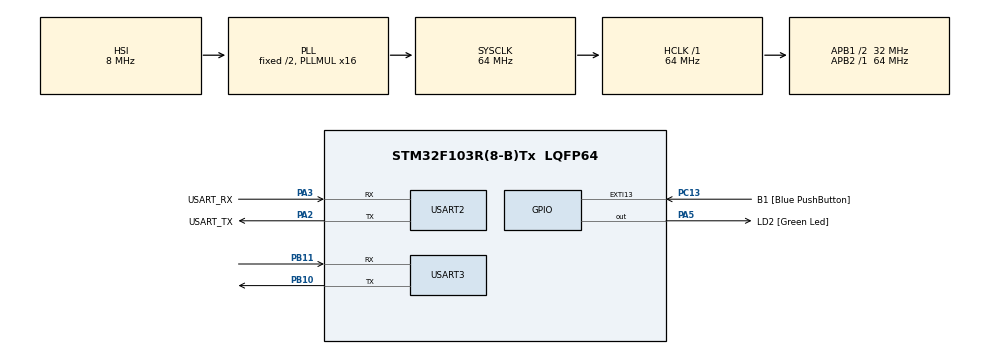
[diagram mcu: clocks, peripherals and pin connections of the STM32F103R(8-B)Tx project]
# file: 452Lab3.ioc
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Mcu.Family=STM32F1
Mcu.Name=STM32F103R(8-B)Tx
Mcu.Package=LQFP64
NVIC.EXTI15_10_IRQn=true\:0\:0\:false\:false\:true\:true\:true\:true
NVIC.PriorityGroup=NVIC_PRIORITYGROUP_4
NVIC.USART3_IRQn=true\:0\:0\:false\:false\:true\:true\:true\:true
PA13.GPIO_Label=TMS
PA13.Mode=Serial_Wire
PA13.Signal=SYS_JTMS-SWDIO
PA14.GPIO_Label=TCK
PA14.Mode=Serial_Wire
PA14.Signal=SYS_JTCK-SWCLK
PA2.GPIO_Label=USART_TX
PA2.GPIO_Mode=GPIO_MODE_AF_PP
PA2.GPIO_PuPd=GPIO_NOPULL
PA2.GPIO_Speed=GPIO_SPEED_FREQ_LOW
PA2.Mode=Asynchronous
PA2.Signal=USART2_TX
PA3.GPIO_Label=USART_RX
PA3.GPIO_Mode=GPIO_MODE_AF_PP
PA3.GPIO_PuPd=GPIO_NOPULL
PA3.GPIO_Speed=GPIO_SPEED_FREQ_LOW
PA3.Mode=Asynchronous
PA3.Signal=USART2_RX
PA5.GPIO_Label=LD2 [Green Led]
PA5.GPIO_ModeDefaultOutputPP=GPIO_MODE_OUTPUT_PP
PA5.GPIO_PuPd=GPIO_NOPULL
PA5.GPIO_Speed=GPIO_SPEED_FREQ_LOW
PA5.Signal=GPIO_Output
PB10.Mode=Asynchronous
PB10.Signal=USART3_TX
PB11.Mode=Asynchronous
PB11.Signal=USART3_RX
PB3.GPIO_Label=SWO
PB3.Signal=SYS_JTDO-TRACESWO
PC13-TAMPER-RTC.GPIO_Label=B1 [Blue PushButton]
PC13-TAMPER-RTC.GPIO_PuPd=GPIO_NOPULL
PC13-TAMPER-RTC.Signal=GPXTI13
PC14-OSC32_IN.Mode=LSE-External-Oscillator
PC14-OSC32_IN.Signal=RCC_OSC32_IN
PC15-OSC32_OUT.Mode=LSE-External-Oscillator
PC15-OSC32_OUT.Signal=RCC_OSC32_OUT
PD0-OSC_IN.Mode=HSE-External-Clock-Source
PD0-OSC_IN.Signal=RCC_OSC_IN
PD1-OSC_OUT.Mode=HSE-External-Clock-Source
PD1-OSC_OUT.Signal=RCC_OSC_OUT
ProjectManager.HeapSize=0x200
ProjectManager.StackSize=0x400
ProjectManager.TargetToolchain=STM32CubeIDE
RCC.AHBFreq_Value=64000000
RCC.APB1CLKDivider=RCC_HCLK_DIV2
RCC.APB1Freq_Value=32000000
RCC.APB1TimFreq_Value=64000000
RCC.APB2Freq_Value=64000000
RCC.APB2TimFreq_Value=64000000
RCC.HCLKFreq_Value=64000000
RCC.PLLMUL=RCC_PLL_MUL16
RCC.RTCClockSelection=RCC_RTCCLKSOURCE_LSE
RCC.SYSCLKFreq_VALUE=64000000
RCC.SYSCLKSource=RCC_SYSCLKSOURCE_PLLCLK
RCC.USBFreq_Value=64000000
USART2.VirtualMode=VM_ASYNC
USART3.VirtualMode=VM_ASYNC
VP_TIM4_VS_ClockSourceINT.Mode=Internal
board=NUCLEO-F103RB

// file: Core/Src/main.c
/* USER CODE BEGIN Header */
/**
  ******************************************************************************
  * @file           : main.c
  * @brief          : Main program body
  ******************************************************************************
  * @attention
  *
  * Copyright (c) 2022 STMicroelectronics.
  * All rights reserved.
  *
  * This software is licensed under terms that can be found in the LICENSE file
  * in the root directory of this software component.
  * If no LICENSE file comes with this software, it is provided AS-IS.
  *
  ******************************************************************************
  */
/* USER CODE END Header */
#include "main.h"

/* USER CODE BEGIN Includes */
#include <stdbool.h>
#include <stdio.h>
#include "string.h"
#include "timer.h"
#include "test.h"

/* USER CODE END Includes */

/* USER CODE BEGIN PM */
uint8_t cliBufferTX[50];
uint8_t cliBufferRX[50];
uint8_t inputTXBuffer[50];
int x;
/* USER CODE END PM */

 TIM_HandleTypeDef htim4;

UART_HandleTypeDef huart2;
UART_HandleTypeDef huart3;

void SystemClock_Config(void);
static void MX_GPIO_Init(void);
static void MX_USART2_UART_Init(void);
static void MX_USART3_UART_Init(void);
static void MX_TIM4_Init(void);
/* USER CODE BEGIN PFP */
void resetBuff(void);

/* USER CODE END PFP */

/* USER CODE BEGIN 0 */
/*
 * Purpose: resets the buffer for RX and TX
 */
void resetBuff()//resets tx and rx buffer
{
  for (int i = 0; i < 50; ++i) {
	  cliBufferTX[i] = 0;
	  cliBufferRX[i] = 0;
  }
}

void resetInput()//resets input buffer
{
  for (int i = 0; i < 50; ++i) {
	  inputTXBuffer[i] = 0;
  }
}

/* USER CODE END 0 */

int main(void)
{

  /* MCU Configuration--------------------------------------------------------*/

  /* Reset of all peripherals, Initializes the Flash interface and the Systick. */
  HAL_Init();

  /* Configure the system clock */
  SystemClock_Config();

  /* Initialize all configured peripherals */
  MX_GPIO_Init();
  MX_USART2_UART_Init();
  MX_USART3_UART_Init();
  MX_TIM4_Init();
  /* USER CODE BEGIN 2 */

  HAL_UART_Transmit(&huart2, "\x1b[0J", 5, 1000); //clearing screen

  strcpy((char *) inputTXBuffer, " ENSE 452 Lab 4: Timing Tests\r\n\r\n");
  HAL_UART_Transmit(&huart2, inputTXBuffer, strlen((char *) inputTXBuffer), 1000);

  uint8_t commands = 0;
  int x = 0;

  //making scrollable cmd window
  HAL_UART_Transmit(&huart2, "\x1b[8;r", 5, 1000);
  HAL_UART_Transmit(&huart2, "\x1b[8;0H", 6, 1000);
  HAL_UART_Transmit(&huart2, "\x1b[1K", 4, 1000);

  HAL_UART_Receive(&huart2, cliBufferRX, 1, 300);

  /* USER CODE END 2 */

  /* Infinite loop */
  /* USER CODE BEGIN WHILE */
  resetInput();
  resetBuff();

  uint8_t input[20];

  while (1)
  {
    /* USER CODE END WHILE */
	  //adding and updating info at top
	  	  HAL_UART_Transmit(&huart2, "\x1b[s", 3, 1000);
	  	  HAL_UART_Transmit(&huart2, "\x1b[3;0f", 7, 1000);
	  	  resetInput();
	  	  strcpy((char *) inputTXBuffer, "Number of commands: ");
	  	  HAL_UART_Transmit(&huart2, inputTXBuffer, strlen((char *) inputTXBuffer), 1000);
	  	  sprintf(input, "%d", commands);
	  	  HAL_UART_Transmit(&huart2, input, strlen((char *) input), 1000);
	  	  HAL_UART_Transmit(&huart2, "\x1b[u", 3, 1000);
	  	  HAL_Delay(1000);
	  	  commands += 1;

	  	  //tasks from Lab 2, takes user inputs and completes the commands

	  	  x = 0;

	  		  strcpy((char *)cliBufferTX, "\nEnter a command for the LED:\r\n");
	  		  HAL_UART_Transmit(&huart2, cliBufferTX, strlen((char *)cliBufferTX), 1000);

	  		  while(cliBufferTX[0] != '\r')
	  		  {
	  			  if(HAL_UART_Receive(&huart2, cliBufferRX, 1, 300) == HAL_OK)
	  			  {
	  				  if(cliBufferRX[0] == '\b')
	  				  {
	  					  cliBufferTX[0] = cliBufferRX[0];
	  					  cliBufferTX[1] = ' ';
	  					  cliBufferTX[2] = '\b';
	  					  HAL_UART_Transmit(&huart2, cliBufferTX, 3, 1000);
	  					  x--;
	  				  }
	  				  else
	  				  {
	  					  cliBufferTX[0] = cliBufferRX[0];
	  					  input[x] = cliBufferRX[0];
	  					  HAL_UART_Transmit(&huart2, cliBufferTX, 1, 1000);
	  					  x++;
	  				  }
	  			  }
	  		  }

	  		  if(input[0] == 'h' && input[1] == 'e' && input[2] == 'l' && input[3] == 'p' && input[4] == '\r')
	  		  {
	  			  strcpy((char *)cliBufferTX, "\non -> turns the green LED on\r\n");
	  			  HAL_UART_Transmit(&huart2, cliBufferTX, strlen((char *)cliBufferTX), 1000);
	  			  strcpy((char *)cliBufferTX, "\noff -> turns the green LED off\r\n");
	  			  HAL_UART_Transmit(&huart2, cliBufferTX, strlen((char *)cliBufferTX), 1000);
	  			  strcpy((char *)cliBufferTX, "\nquery -> returns the state of the green LED\r\n");
	  			  HAL_UART_Transmit(&huart2, cliBufferTX, strlen((char *)cliBufferTX), 1000);
	  			  strcpy((char *)cliBufferTX, "\ntest -> shows the Lab 4 time tests\r\n");
	  			  HAL_UART_Transmit(&huart2, cliBufferTX, strlen((char *)cliBufferTX), 1000);

	  		  }
	  		  else if(input[0] == 'o' && input[1] == 'n' && input[2] == '\r')
	  		  {
	  			  if(HAL_GPIO_ReadPin(GPIOA, GPIO_PIN_5) == 1)
	  			  {
	  				  strcpy((char *)cliBufferTX, "\nThe LED is already on!\r\n");
	  			  }
	  			  else
	  			  {
	  				  strcpy((char *)cliBufferTX, "\nDone!\r\n");
	  			  }
	  			  HAL_UART_Transmit(&huart2, cliBufferTX, strlen((char *)cliBufferTX), 1000);
	  			  HAL_GPIO_WritePin(GPIOA, GPIO_PIN_5, GPIO_PIN_SET);

	  		  }
	  		  else if(input[0] == 'o' && input[1] == 'f' && input[2] == 'f' && input[3] == '\r')
	  		  {
	  			  if(HAL_GPIO_ReadPin(GPIOA, GPIO_PIN_5) == 1)
	  			  {
	  				  strcpy((char *)cliBufferTX, "\nDone!\r\n");
	  			  }
	  			  else
	  			  {
	  				  strcpy((char *)cliBufferTX, "\nThe LED is already off!\r\n");
	  			  }
	  			  HAL_UART_Transmit(&huart2, cliBufferTX, strlen((char *)cliBufferTX), 1000);
	  			  HAL_GPIO_WritePin(GPIOA, GPIO_PIN_5, GPIO_PIN_RESET);
	  		  }
	  		  else if(input[0] == 'q' && input[1] == 'u' && input[2] == 'e' && input[3] == 'r' && input[4] == 'y' && input[5] == '\r')
	  		  {
	  			  if(HAL_GPIO_ReadPin(GPIOA, GPIO_PIN_5) == 1)
	  			  {
	  				  strcpy((char *)cliBufferTX, "\nThe LED is on!\r\n");
	  			  }
	  			  else
	  			  {
	  				  strcpy((char *)cliBufferTX, "\nThe LED is off!\r\n");
	  			  }
	  			  HAL_UART_Transmit(&huart2, cliBufferTX, strlen((char *)cliBufferTX), 1000);
	  		  }
	  		  else if(input[0] == 't' && input[1] == 'e' && input[2] == 's' && input[3] == 't' && input[4] == '\r')
	  		  {

	  			  strcpy((char *)cliBufferTX, "\nTesting Average Operation Times:\r\n");
	  			  HAL_UART_Transmit(&huart2, cliBufferTX, strlen((char *)cliBufferTX), 1000);
	  			  runTests();

	  		  }
	  		  else if(input[0] == '\r')
	  		  {
	  			  continue;
	  		  }
	  		  else
	  		  {
	  			  strcpy((char *)cliBufferTX, "\nError. Try again.\r\n");
	  			  HAL_UART_Transmit(&huart2, cliBufferTX, strlen((char *)cliBufferTX), 1000);
	  		  }

  }
}

void SystemClock_Config(void)
{
  RCC_OscInitTypeDef RCC_OscInitStruct = {0};
  RCC_ClkInitTypeDef RCC_ClkInitStruct = {0};

  /** Initializes the RCC Oscillators according to the specified parameters
  * in the RCC_OscInitTypeDef structure.
  */
  RCC_OscInitStruct.OscillatorType = RCC_OSCILLATORTYPE_HSI;
  RCC_OscInitStruct.HSIState = RCC_HSI_ON;
  RCC_OscInitStruct.HSICalibrationValue = RCC_HSICALIBRATION_DEFAULT;
  RCC_OscInitStruct.PLL.PLLState = RCC_PLL_ON;
  RCC_OscInitStruct.PLL.PLLSource = RCC_PLLSOURCE_HSI_DIV2;
  RCC_OscInitStruct.PLL.PLLMUL = RCC_PLL_MUL16;
  if (HAL_RCC_OscConfig(&RCC_OscInitStruct) != HAL_OK)
  {
    Error_Handler();
  }

  /** Initializes the CPU, AHB and APB buses clocks
  */
  RCC_ClkInitStruct.ClockType = RCC_CLOCKTYPE_HCLK|RCC_CLOCKTYPE_SYSCLK
                              |RCC_CLOCKTYPE_PCLK1|RCC_CLOCKTYPE_PCLK2;
  RCC_ClkInitStruct.SYSCLKSource = RCC_SYSCLKSOURCE_PLLCLK;
  RCC_ClkInitStruct.AHBCLKDivider = RCC_SYSCLK_DIV1;
  RCC_ClkInitStruct.APB1CLKDivider = RCC_HCLK_DIV2;
  RCC_ClkInitStruct.APB2CLKDivider = RCC_HCLK_DIV1;

  if (HAL_RCC_ClockConfig(&RCC_ClkInitStruct, FLASH_LATENCY_2) != HAL_OK)
  {
    Error_Handler();
  }
}

static void MX_TIM4_Init(void)
{

  TIM_ClockConfigTypeDef sClockSourceConfig = {0};
  TIM_MasterConfigTypeDef sMasterConfig = {0};

  /* USER CODE BEGIN TIM4_Init 1 */

  __HAL_RCC_TIM4_CLK_ENABLE();//enabling the clock

  /* USER CODE END TIM4_Init 1 */
  htim4.Instance = TIM4;
  htim4.Init.Prescaler = 0;
  htim4.Init.CounterMode = TIM_COUNTERMODE_UP;
  htim4.Init.Period = 65535;
  htim4.Init.ClockDivision = TIM_CLOCKDIVISION_DIV1;
  htim4.Init.AutoReloadPreload = TIM_AUTORELOAD_PRELOAD_DISABLE;
  if (HAL_TIM_Base_Init(&htim4) != HAL_OK)
  {
    Error_Handler();
  }
  sClockSourceConfig.ClockSource = TIM_CLOCKSOURCE_INTERNAL;
  if (HAL_TIM_ConfigClockSource(&htim4, &sClockSourceConfig) != HAL_OK)
  {
    Error_Handler();
  }
  sMasterConfig.MasterOutputTrigger = TIM_TRGO_RESET;
  sMasterConfig.MasterSlaveMode = TIM_MASTERSLAVEMODE_DISABLE;
  if (HAL_TIMEx_MasterConfigSynchronization(&htim4, &sMasterConfig) != HAL_OK)
  {
    Error_Handler();
  }
  /* USER CODE BEGIN TIM4_Init 2 */

  HAL_TIM_Base_MspInit(&htim4);//starting the clock
  HAL_TIM_Base_Init(&htim4);
  HAL_TIM_Base_Start(&htim4);
  /* USER CODE END TIM4_Init 2 */

}

static void MX_USART2_UART_Init(void)
{

  huart2.Instance = USART2;
  huart2.Init.BaudRate = 115200;
  huart2.Init.WordLength = UART_WORDLENGTH_8B;
  huart2.Init.StopBits = UART_STOPBITS_1;
  huart2.Init.Parity = UART_PARITY_NONE;
  huart2.Init.Mode = UART_MODE_TX_RX;
  huart2.Init.HwFlowCtl = UART_HWCONTROL_NONE;
  huart2.Init.OverSampling = UART_OVERSAMPLING_16;
  if (HAL_UART_Init(&huart2) != HAL_OK)
  {
    Error_Handler();
  }

}

static void MX_USART3_UART_Init(void)
{

  huart3.Instance = USART3;
  huart3.Init.BaudRate = 115200;
  huart3.Init.WordLength = UART_WORDLENGTH_8B;
  huart3.Init.StopBits = UART_STOPBITS_1;
  huart3.Init.Parity = UART_PARITY_NONE;
  huart3.Init.Mode = UART_MODE_TX_RX;
  huart3.Init.HwFlowCtl = UART_HWCONTROL_NONE;
  huart3.Init.OverSampling = UART_OVERSAMPLING_16;
  if (HAL_UART_Init(&huart3) != HAL_OK)
  {
    Error_Handler();
  }

}

static void MX_GPIO_Init(void)
{
  GPIO_InitTypeDef GPIO_InitStruct = {0};

  /* GPIO Ports Clock Enable */
  __HAL_RCC_GPIOC_CLK_ENABLE();
  __HAL_RCC_GPIOD_CLK_ENABLE();
  __HAL_RCC_GPIOA_CLK_ENABLE();
  __HAL_RCC_GPIOB_CLK_ENABLE();

  /*Configure GPIO pin Output Level */
  HAL_GPIO_WritePin(LD2_GPIO_Port, LD2_Pin, GPIO_PIN_RESET);

  /*Configure GPIO pin : B1_Pin */
  GPIO_InitStruct.Pin = B1_Pin;
  GPIO_InitStruct.Mode = GPIO_MODE_IT_RISING;
  GPIO_InitStruct.Pull = GPIO_NOPULL;
  HAL_GPIO_Init(B1_GPIO_Port, &GPIO_InitStruct);

  /*Configure GPIO pin : LD2_Pin */
  GPIO_InitStruct.Pin = LD2_Pin;
  GPIO_InitStruct.Mode = GPIO_MODE_OUTPUT_PP;
  GPIO_InitStruct.Pull = GPIO_NOPULL;
  GPIO_InitStruct.Speed = GPIO_SPEED_FREQ_LOW;
  HAL_GPIO_Init(LD2_GPIO_Port, &GPIO_InitStruct);

  /* EXTI interrupt init*/
  HAL_NVIC_SetPriority(EXTI15_10_IRQn, 0, 0);
  HAL_NVIC_EnableIRQ(EXTI15_10_IRQn);

}

/* USER CODE BEGIN 4
 *
 * All the Timing tests are done here,
 * I created a separate header file to
 * distinguish the Time test functions,
 * and I also don't want to mess
 * with main.h
 *
 * */

volatile double Add32Bit = 0;
volatile double Add64Bit = 0;
volatile double Mult32Bit = 0;
volatile double Mult64Bit = 0;
volatile double Div32Bit = 0;
volatile double Div64Bit = 0;
volatile double Copy8Bit = 0;
volatile double Copy128Bit = 0;
volatile double Copy1024Bit = 0;

uint32_t rnd32()
{
	uint32_t x;
	x = rand() & 0xff;
	x |= (rand() & 0xff) << 8;
	x |= (rand() & 0xff) << 16;
	x |= (rand() & 0xff) << 24;

	return x;
}

uint64_t rnd64()
{

	uint64_t x64;
	x64 = rand() & 0xff;
	x64 |= (rand() & 0xff) << 8;
	x64 |= (rand() & 0xff) << 16;
	x64 |= (rand() & 0xff) << 24;
	x64 |= (rand() & 0xff) << 32;
	x64 |= (rand() & 0xff) << 40;
	x64 |= (rand() & 0xff) << 48;
	x64 |= (rand() & 0xff) << 56;

	return x;

}

uint32_t add32(uint32_t a, uint32_t b)
{
	return a + b;
}

uint64_t add64(uint64_t a, uint64_t b)
{
	return a + b;
}

uint64_t mult32(uint32_t a, uint32_t b)
{
	return a * b;
}

uint64_t mult64(uint64_t a, uint64_t b)
{
	return a * b;
}

uint32_t div32(uint32_t a, uint32_t b)
{
	if(b == 0)
	{
		return 0x00000000;
	}
	return a / b;
}

uint64_t div64(uint64_t a, uint64_t b)
{
	if(b == 0)
	{
		return 0x0000000000000000;
	}
    return a / b;
}

void runTests()
{

	uint16_t volatile testTime;
	uint32_t r1, r2;
	uint64_t r3, r4;

	struct strc8
	{
		int dat[2];
	};
	struct strc128
	{
		int dat[32];
	};
	struct strc1024
	{
		int dat[256];
	};

	volatile struct strc8 struct8, struct8copy;
	volatile struct strc128 struct128, struct128copy;
	volatile struct strc1024 struct1024, struct1024copy;

	for(int i = 0; i < 2; i++)
	{
		struct8copy.dat[i] = 0;
	}
	for(int i = 0; i < 32; i++)
	{
		struct128copy.dat[i] = 0;
	}
	for(int i = 0; i < 256; i++)
	{
		struct1024copy.dat[i] = 0;
	}

	uint8_t outputTXBuffer[56];
	int count = 0;
	while (count < 100)
	{
		r1 = rnd32();
		r2 = rnd32();
		r3 = rnd64();
		r4 = rnd64();

		//populating the structs
		for(int i = 0; i < 2; i++)
		{
			struct8.dat[i] = rand();
		}
		for(int i = 0; i < 32; i++)
		{
			struct128.dat[i] = rand();
		}
		for(int i = 0; i < 256; i++)
		{
			struct1024.dat[i] = rand();
		}

		//timing the operations
		testTime = startTimer();
		add32(r1, r2);
		Add32Bit += (double)stopTimer(testTime);

		testTime = startTimer();
		add64(r3, r4);
		Add64Bit += (double)stopTimer(testTime);

		testTime = startTimer();
		mult32(r1, r2);
		Mult32Bit += (double)stopTimer(testTime);

		testTime = startTimer();
		mult64(r3, r4);
		Mult64Bit += (double)stopTimer(testTime);

		testTime = startTimer();
		div32(r1, r2);
		Div32Bit += (double)stopTimer(testTime);

		testTime = startTimer();
		div64(r3, r4);
		Div64Bit += (double)stopTimer(testTime);

		testTime = startTimer();
		struct8copy = struct8;
		Copy8Bit += (double)stopTimer(testTime);

		testTime = startTimer();
		struct128copy = struct128;
		Copy128Bit += (double)stopTimer(testTime);

		testTime = startTimer();
		struct1024copy = struct1024;
		Copy1024Bit += (double)stopTimer(testTime);

		count++;
	}

  //My clock is 64hz, and this was run 100 times, so divide by both to get the average
  Add32Bit = Add32Bit / 64000 / 100;
  Add64Bit = Add64Bit / 64000 / 100;
  Mult32Bit = Mult32Bit / 64000 / 100;
  Mult64Bit = Mult64Bit / 64000 / 100;
  Div32Bit = Div32Bit / 64000 / 100;
  Div64Bit = Div64Bit / 64000 / 100;
  Copy8Bit = Copy8Bit / 64000 / 100;
  Copy128Bit = Copy128Bit / 64000 / 100;
  Copy1024Bit = Copy1024Bit / 64000 / 100;

//  TEST TO MAKE SURE TIMER IS RUNNING

//  uint16_t temp = __HAL_TIM_GET_COUNTER(&htim4);
//  sprintf(outputTXBuffer, "TIMER TEST: %u\r\n", temp);
//  strcpy((char *)cliBufferTX, (const char *)outputTXBuffer);
//  HAL_UART_Transmit(&huart2, cliBufferTX, strlen((char *)cliBufferTX), 1000);

  //printing times
  sprintf(outputTXBuffer, "32 bit addition: %lfms\r\n", Add32Bit);
  strcpy((char *)cliBufferTX, (const char *)outputTXBuffer);
  HAL_UART_Transmit(&huart2, cliBufferTX, strlen((char *)cliBufferTX), 1000);

  sprintf(outputTXBuffer, "64 bit addition: %lfms\r\n", Add64Bit);
  strcpy((char *)cliBufferTX, (const char *)outputTXBuffer);
  HAL_UART_Transmit(&huart2, cliBufferTX, strlen((char *)cliBufferTX), 1000);

  sprintf(outputTXBuffer, "32 bit multiplication: %lfms\r\n", Mult32Bit);
  strcpy((char *)cliBufferTX, (const char *)outputTXBuffer);
  HAL_UART_Transmit(&huart2, cliBufferTX, strlen((char *)cliBufferTX), 1000);

  sprintf(outputTXBuffer, "64 bit multiplication: %lfms\r\n", Mult64Bit);
  strcpy((char *)cliBufferTX, (const char *)outputTXBuffer);
  HAL_UART_Transmit(&huart2, cliBufferTX, strlen((char *)cliBufferTX), 1000);

  sprintf(outputTXBuffer, "32 bit division: %lfms\r\n", Div32Bit);
  strcpy((char *)cliBufferTX, (const char *)outputTXBuffer);
  HAL_UART_Transmit(&huart2, cliBufferTX, strlen((char *)cliBufferTX), 1000);

  sprintf(outputTXBuffer, "64 bit division: %lfms\r\n", Div64Bit);
  strcpy((char *)cliBufferTX, (const char *)outputTXBuffer);
  HAL_UART_Transmit(&huart2, cliBufferTX, strlen((char *)cliBufferTX), 1000);

  sprintf(outputTXBuffer, "8-byte struct copy: %lfms\r\n", Copy8Bit);
  strcpy((char *)cliBufferTX, (const char *)outputTXBuffer);
  HAL_UART_Transmit(&huart2, cliBufferTX, strlen((char *)cliBufferTX), 1000);

  sprintf(outputTXBuffer, "128-byte struct copy: %lfms\r\n", Copy128Bit);
  strcpy((char *)cliBufferTX, (const char *)outputTXBuffer);
  HAL_UART_Transmit(&huart2, cliBufferTX, strlen((char *)cliBufferTX), 1000);

  sprintf(outputTXBuffer, "1024-byte struct copy: %lfms\r\n", Copy1024Bit);
  strcpy((char *)cliBufferTX, (const char *)outputTXBuffer);
  HAL_UART_Transmit(&huart2, cliBufferTX, strlen((char *)cliBufferTX), 1000);

}

/* USER CODE END 4 */

void Error_Handler(void)
{
  __disable_irq();
  while (1)
  {
  }
}
